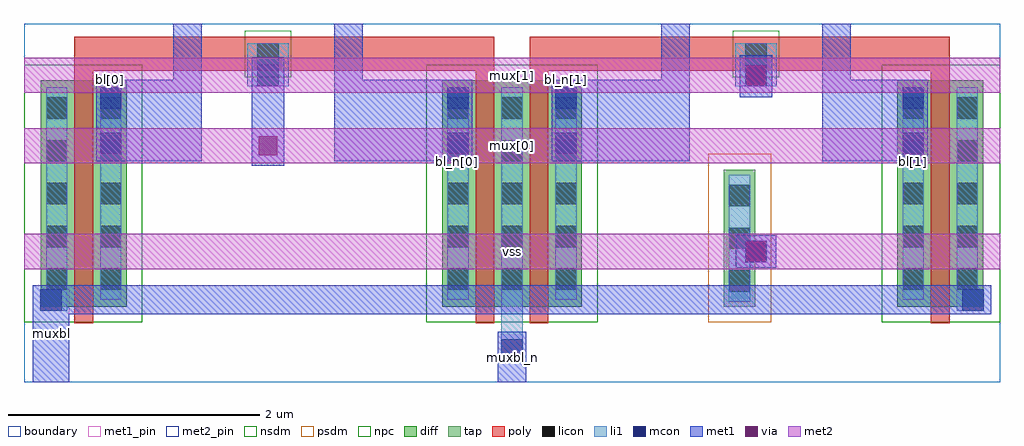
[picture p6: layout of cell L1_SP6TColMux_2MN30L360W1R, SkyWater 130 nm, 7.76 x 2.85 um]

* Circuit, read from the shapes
.subckt L1_SP6TColMux_2MN30L360W1R bl[0] bl[1] bl_n[0] bl_n[1] mux[0] mux[1] muxbl muxbl_n vss
XM1 bl[0] mux[0] muxbl vss sky130_fd_pr__nfet_01v8 w=1.8 l=0.15
XM2 muxbl_n mux[0] bl_n[0] vss sky130_fd_pr__nfet_01v8 w=1.8 l=0.15
XM3 bl_n[1] mux[1] muxbl_n vss sky130_fd_pr__nfet_01v8 w=1.8 l=0.15
XM4 muxbl mux[1] bl[1] vss sky130_fd_pr__nfet_01v8 w=1.8 l=0.15
.ends

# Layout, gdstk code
import gdstk
lib = gdstk.Library(unit=1e-6, precision=1e-09)
def R(c, l, rs):  # rectangles x0, y0, x1, y1
    for r in rs: c.add(gdstk.rectangle(r[:2], r[2:], *l))
def A(c, l, x, y, w, h, nx, ny, dx, dy):  # array of equal rectangles
    R(c, l, [(x+i*dx, y+j*dy, x+i*dx+w, y+j*dy+h) for i in range(nx) for j in range(ny)])
def P(c, l, *ps):  # polygons
    for p in ps: c.add(gdstk.Polygon(p, *l))
diff = (65, 20)
tap = (65, 44)
poly = (66, 20)
licon = (66, 44)
li1 = (67, 20)
mcon = (67, 44)
met1_pin = (68, 16)
met1 = (68, 20)
via = (68, 44)
met2_pin = (69, 16)
met2 = (69, 20)
nsdm = (93, 44)
psdm = (94, 20)
npc = (95, 20)
boundary = (235, 4)

l1_sp6tcolmux_2mn30l360w = lib.new_cell('L1_SP6TColMux_2MN30L360W1R')
R(l1_sp6tcolmux_2mn30l360w, diff, [(0.135,0.6,0.815,2.4), (3.325,0.6,4.435,2.4), (6.945,0.6,7.625,2.4)])
R(l1_sp6tcolmux_2mn30l360w, tap, [(5.565,0.6,5.815,1.69)])
P(l1_sp6tcolmux_2mn30l360w, poly, [(0.4,0.47),(0.4,2.745),(3.74,2.745),(3.74,0.47),(3.59,0.47),(3.59,2.475),(0.55,2.475),(0.55,0.47)],
  [(4.02,0.47),(4.02,2.745),(7.36,2.745),(7.36,0.47),(7.21,0.47),(7.21,2.475),(4.17,2.475),(4.17,0.47)])
A(l1_sp6tcolmux_2mn30l360w, licon, 5.605, 0.72, 0.17, 0.17, 1, 3, 0, 0.34)
A(l1_sp6tcolmux_2mn30l360w, licon, 0.175, 0.735, 0.17, 0.17, 1, 5, 0, 0.34)
A(l1_sp6tcolmux_2mn30l360w, licon, 0.605, 0.735, 0.17, 0.17, 1, 5, 0, 0.34)
A(l1_sp6tcolmux_2mn30l360w, licon, 3.365, 0.735, 0.17, 0.17, 3, 5, 0.43, 0.34)
A(l1_sp6tcolmux_2mn30l360w, licon, 6.985, 0.735, 0.17, 0.17, 1, 5, 0, 0.34)
A(l1_sp6tcolmux_2mn30l360w, licon, 7.415, 0.735, 0.17, 0.17, 1, 5, 0, 0.34)
R(l1_sp6tcolmux_2mn30l360w, licon, [(1.855,2.525,2.025,2.695), (5.735,2.525,5.905,2.695)])
R(l1_sp6tcolmux_2mn30l360w, li1, [(3.795,0.17,3.965,2.345), (0.605,0.655,0.775,2.345), (3.365,0.655,3.535,2.345), (4.225,0.655,4.395,2.345), (6.985,0.655,7.155,2.345), (1.775,2.355,2.105,2.695), (5.655,2.355,5.985,2.695)])
P(l1_sp6tcolmux_2mn30l360w, li1, [(5.605,0.64),(5.605,1.65),(5.775,1.65),(5.775,1.125),(5.905,1.125),(5.905,0.955),(5.775,0.955),(5.775,0.64)],
  [(0.13,0.57),(0.13,0.74),(0.175,0.74),(0.175,2.345),(0.345,2.345),(0.345,0.57)],
  [(7.415,0.57),(7.415,2.345),(7.585,2.345),(7.585,0.74),(7.63,0.74),(7.63,0.57)])
R(l1_sp6tcolmux_2mn30l360w, mcon, [(3.795,0.17,3.965,0.34), (0.13,0.57,0.3,0.74), (7.46,0.57,7.63,0.74), (5.735,0.955,5.905,1.125), (0.605,1.815,0.775,1.985), (3.365,1.815,3.535,1.985), (4.225,1.815,4.395,1.985), (6.985,1.815,7.155,1.985), (0.605,2.175,0.775,2.345), (3.365,2.175,3.535,2.345), (4.225,2.175,4.395,2.345), (6.985,2.175,7.155,2.345), (1.855,2.355,2.025,2.525), (5.735,2.355,5.905,2.525)])
R(l1_sp6tcolmux_2mn30l360w, met1_pin, [(0.07,0,0.36,0.77), (3.765,0,3.995,0.4)])
P(l1_sp6tcolmux_2mn30l360w, met1_pin, [(6.345,1.755),(6.345,2.85),(6.575,2.85),(6.575,2.405),(7.07,2.405),(7.07,1.755)],
  [(4.31,1.755),(4.31,2.405),(5.065,2.405),(5.065,2.85),(5.295,2.85),(5.295,1.755)],
  [(2.465,1.755),(2.465,2.85),(2.695,2.85),(2.695,2.405),(3.45,2.405),(3.45,1.755)],
  [(0.69,1.755),(0.69,2.405),(1.185,2.405),(1.185,2.85),(1.415,2.85),(1.415,1.755)])
R(l1_sp6tcolmux_2mn30l360w, met1, [(3.765,0,3.995,0.4), (5.66,0.91,5.98,1.17), (1.81,1.72,2.07,2.585), (5.69,2.265,5.95,2.6)])
P(l1_sp6tcolmux_2mn30l360w, met1, [(6.345,1.755),(6.345,2.85),(6.575,2.85),(6.575,2.405),(7.185,2.405),(7.185,1.755)],
  [(4.195,1.755),(4.195,2.405),(5.065,2.405),(5.065,2.85),(5.295,2.85),(5.295,1.755)],
  [(2.465,1.755),(2.465,2.85),(2.695,2.85),(2.695,2.405),(3.565,2.405),(3.565,1.755)],
  [(0.575,1.755),(0.575,2.405),(1.185,2.405),(1.185,2.85),(1.415,2.85),(1.415,1.755)],
  [(0.07,0),(0.07,0.77),(7.69,0.77),(7.69,0.54),(0.36,0.54),(0.36,0)])
R(l1_sp6tcolmux_2mn30l360w, via, [(5.745,0.965,5.895,1.115), (1.865,1.805,2.015,1.955), (5.745,2.365,5.895,2.515)])
R(l1_sp6tcolmux_2mn30l360w, met2_pin, [(0,0.9,7.76,1.18), (0,1.74,7.76,2.02), (0,2.3,7.76,2.58)])
R(l1_sp6tcolmux_2mn30l360w, met2, [(0,0.9,7.76,1.18), (0,1.74,7.76,2.02), (0,2.3,7.76,2.58)])
R(l1_sp6tcolmux_2mn30l360w, nsdm, [(0,0.475,0.94,2.525), (3.2,0.475,4.56,2.525), (6.82,0.475,7.76,2.525)])
R(l1_sp6tcolmux_2mn30l360w, psdm, [(5.44,0.475,5.94,1.815)])
R(l1_sp6tcolmux_2mn30l360w, npc, [(1.755,2.425,2.125,2.795), (5.635,2.425,6.005,2.795)])
R(l1_sp6tcolmux_2mn30l360w, boundary, [(0,0,7.76,2.85)])
l1_sp6tcolmux_2mn30l360w.add(gdstk.Label('bl_n[1]', (4.31,2.405), layer=68, texttype=16))
l1_sp6tcolmux_2mn30l360w.add(gdstk.Label('muxbl_n', (3.88,0.2), layer=68, texttype=16))
l1_sp6tcolmux_2mn30l360w.add(gdstk.Label('bl[1]', (7.07,1.755), layer=68, texttype=16))
l1_sp6tcolmux_2mn30l360w.add(gdstk.Label('bl_n[0]', (3.45,1.755), layer=68, texttype=16))
l1_sp6tcolmux_2mn30l360w.add(gdstk.Label('bl[0]', (0.69,2.405), layer=68, texttype=16))
l1_sp6tcolmux_2mn30l360w.add(gdstk.Label('muxbl', (0.215,0.385), layer=68, texttype=16))
l1_sp6tcolmux_2mn30l360w.add(gdstk.Label('mux[1]', (3.88,2.44), layer=69, texttype=16))
l1_sp6tcolmux_2mn30l360w.add(gdstk.Label('mux[0]', (3.88,1.88), layer=69, texttype=16))
l1_sp6tcolmux_2mn30l360w.add(gdstk.Label('vss', (3.88,1.04), layer=69, texttype=16))

lib.write_gds('L1_SP6TColMux_2MN30L360W1R.gds')
